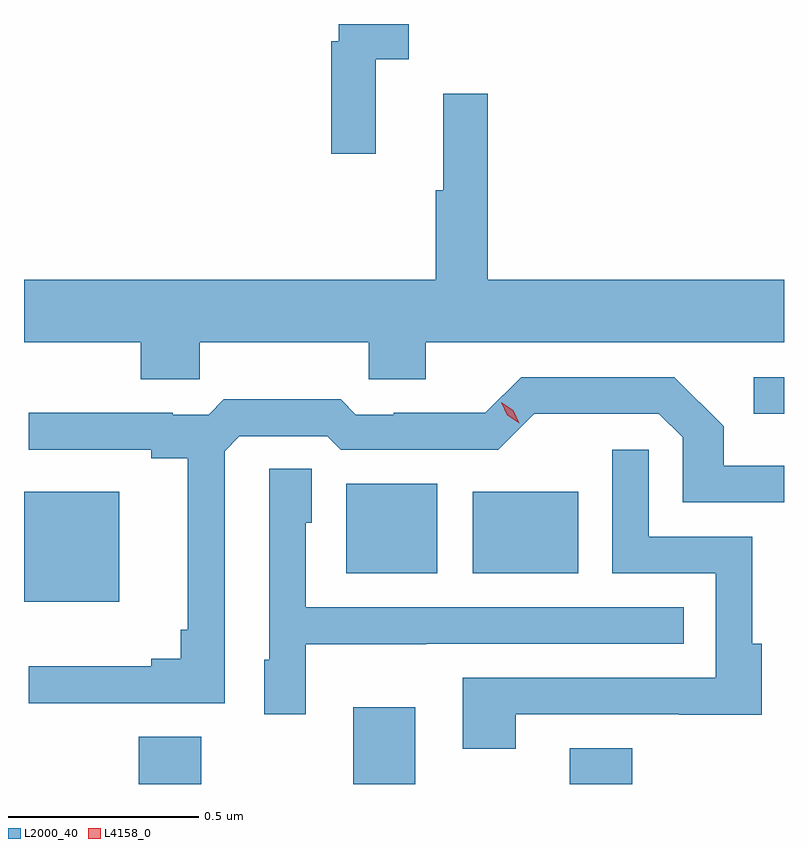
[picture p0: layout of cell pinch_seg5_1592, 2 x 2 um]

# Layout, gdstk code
import gdstk
lib = gdstk.Library(unit=1e-6, precision=1e-09)
def R(c, l, rs):  # rectangles x0, y0, x1, y1
    for r in rs: c.add(gdstk.rectangle(r[:2], r[2:], *l))
def P(c, l, *ps):  # polygons
    for p in ps: c.add(gdstk.Polygon(p, *l))
L2000_40 = (2000, 40)
L4158_0 = (4158, 0)

pinch_seg5_1592 = lib.new_cell('pinch_seg5_1592')
R(pinch_seg5_1592, L2000_40, [(249.575,840.945,249.739,841.069), (250.139,840.945,250.303,841.147), (250.709,840.945,250.873,841.039), (249.273,841.424,249.523,841.714), (250.121,841.499,250.36,841.735), (250.454,841.499,250.732,841.714), (251.193,841.919,251.273,842.016)])
P(pinch_seg5_1592, L2000_40, [(250.199,842.852),(250.285,842.852),(250.285,842.945),(250.101,842.945),(250.101,842.9),(250.081,842.9),(250.081,842.604),(250.199,842.604)],
  [(249.735,842.108),(250.18,842.108),(250.18,842.01),(250.33,842.01),(250.33,842.108),(251.273,842.108),(251.273,842.272),(250.493,842.272),(250.493,842.761),(250.376,842.761),(250.376,842.508),(250.357,842.508),(250.357,842.272),(249.273,842.272),(249.273,842.108),(249.58,842.108),(249.58,842.01),(249.735,842.01)],
  [(249.801,841.821),(249.84,841.86),(250.071,841.86),(250.107,841.824),(250.521,841.824),(250.616,841.919),(250.72,841.919),(250.72,841.92),(250.944,841.92),(251.007,841.857),(251.007,841.686),(251.273,841.686),(251.273,841.783),(251.115,841.783),(251.115,841.886),(250.984,842.016),(250.581,842.016),(250.487,841.922),(250.246,841.922),(250.246,841.917),(250.146,841.917),(250.107,841.957),(249.799,841.957),(249.759,841.917),(249.665,841.917),(249.665,841.922),(249.285,841.922),(249.285,841.824),(249.608,841.824),(249.608,841.802),(249.704,841.802),(249.704,841.351),(249.685,841.351),(249.685,841.274),(249.608,841.274),(249.608,841.255),(249.285,841.255),(249.285,841.158),(249.801,841.158)],
  [(250.567,841.128),(250.997,841.128),(250.997,841.127),(251.215,841.127),(251.215,841.314),(251.19,841.314),(251.19,841.596),(250.917,841.596),(250.917,841.825),(250.821,841.825),(250.821,841.5),(251.094,841.5),(251.094,841.224),(250.427,841.224),(250.427,841.038),(250.567,841.038)],
  [(250.014,841.313),(250.331,841.313),(250.331,841.314),(251.009,841.314),(251.009,841.41),(250.014,841.41),(250.014,841.632),(250.03,841.632),(250.03,841.775),(249.918,841.775),(249.918,841.272),(249.905,841.272),(249.905,841.128),(250.014,841.128)])
P(pinch_seg5_1592, L4158_0, [(250.576,841.895),(250.545,841.916),(250.529,841.95),(250.529,841.95),(250.529,841.95),(250.56,841.929),(250.576,841.895),(250.576,841.895)])

lib.write_gds('pinch_seg5_1592.gds')
